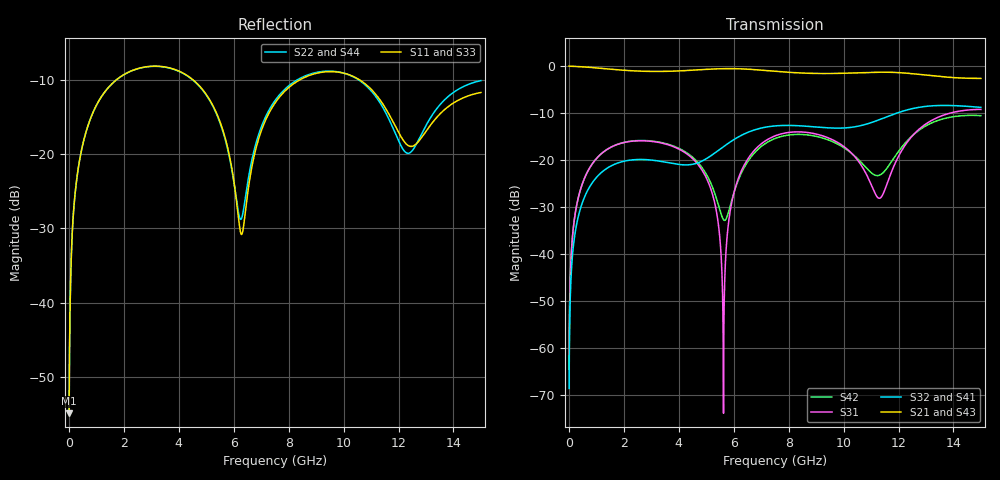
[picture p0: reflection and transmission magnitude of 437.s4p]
! Created with skrf 1.8.0 (http://scikit-rf.org).
# GHz S RI R 50.0
!freq ReS11 ImS11 ReS12 ImS12 ReS13 ImS13
! ReS14 ImS14
! ReS21 ImS21 ReS22 ImS22 ReS23 ImS23
! ReS24 ImS24
! ReS31 ImS31 ReS32 ImS32 ReS33 ImS33
! ReS34 ImS34
! ReS41 ImS41 ReS42 ImS42 ReS43 ImS43
! ReS44 ImS44
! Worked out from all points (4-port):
!   2499 points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, 5 MHz to 15 GHz, reference 50 ohm
!   strongest paths, dB at 5 MHz, 3.476 GHz, 7.19 GHz, 11.1 GHz, 15 GHz:
!     S21: 0.0, -1.1, -0.9, -1.3, -2.6
!     S43: 0.0, -1.1, -0.9, -1.3, -2.6
!     S32: -68.5, -20.4, -12.9, -11.8, -8.8
!     S41: -68.5, -20.4, -12.9, -11.8, -8.9
!     S31: -64.4, -16.5, -15.7, -26.4, -9.2
!     S42: -64.4, -16.4, -16.3, -23.0, -10.5
!   lowest |S11| = -54.9 dB at 5 MHz (marker M1), VSWR 1.00, Z = 50.1 + j0.109 ohm
!   |S11| at or under -10 dB: start of sweep to 1.721 GHz; 4.523 GHz to 8.398 GHz (3.875 GHz wide, 60 % of centre); 10.59 GHz to end of sweep
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0.005  0.00143 0.00109  0.9985 -0.00279  7.23e-05 0.000596  -7.01e-05 -0.000369
       0.9985 -0.00279  0.00143 0.00109  -7.01e-05 -0.000369  7.24e-05 0.000596
       7.23e-05 0.000596  -7.01e-05 -0.000369  0.00143 0.00109  0.9985 -0.00279
       -7.01e-05 -0.000369  7.24e-05 0.000596  0.9985 -0.00279  0.00143 0.00109
0.3126303  0.0192 0.0722  0.9739 -0.1745  0.00893 0.0359  -0.00744 -0.0221
           0.9739 -0.1745  0.0192 0.0722  -0.00745 -0.0221  0.00903 0.0359
           0.00893 0.0359  -0.00745 -0.0221  0.0192 0.0722  0.9739 -0.1745
           -0.00744 -0.0221  0.00903 0.0359  0.9739 -0.1745  0.0192 0.0722
1.519383  0.2229 0.1891  0.6444 -0.6665  0.1135 0.0768  -0.0838 -0.0217
          0.6444 -0.6665  0.2224 0.1893  -0.0839 -0.0216  0.115 0.0752
          0.1135 0.0768  -0.0839 -0.0216  0.2229 0.1891  0.6443 -0.6665
          -0.0838 -0.0217  0.115 0.0752  0.6443 -0.6665  0.2225 0.1893
4.745727  0.219 -0.1884  -0.5942 -0.6949  0.0566 -0.0653  -0.0502 0.0802
          -0.5942 -0.6949  0.2209 -0.1833  -0.0494 0.0813  0.045 -0.0791
          0.0566 -0.0653  -0.0494 0.0813  0.2205 -0.1882  -0.594 -0.6946
          -0.0502 0.0802  0.045 -0.0791  -0.594 -0.6946  0.2211 -0.185
5.627345  0.0674 -0.1233  -0.8621 -0.3731  -0.000103 0.000177  -0.0523 0.1293
          -0.8621 -0.3731  0.0723 -0.1175  -0.0504 0.13  -0.0213 -0.00957
          -0.000103 0.000177  -0.0504 0.13  0.0695 -0.124  -0.8618 -0.3731
          -0.0523 0.1293  -0.0213 -0.00957  -0.8618 -0.3731  0.0713 -0.1194
7.065444  0.0948 0.1216  -0.848 0.3096  0.1027 0.1151  0.1009 0.1976
          -0.848 0.3096  0.1067 0.1235  0.1036 0.1961  0.0773 0.1222
          0.1027 0.1151  0.1036 0.1961  0.0965 0.1196  -0.8479 0.31
          0.1009 0.1976  0.0773 0.1222  -0.8479 0.31  0.1046 0.1238
15  0.2603 0.00255  0.4226 -0.6074  0.3462 0.0178  -0.3447 -0.1067
    0.4226 -0.6074  0.313 -0.000558  -0.3508 -0.0983  0.2803 0.1
    0.3462 0.0178  -0.3508 -0.0983  0.2562 0.00173  0.4179 -0.6098
    -0.3447 -0.1067  0.2803 0.1  0.4179 -0.6098  0.3188 -0.00218
